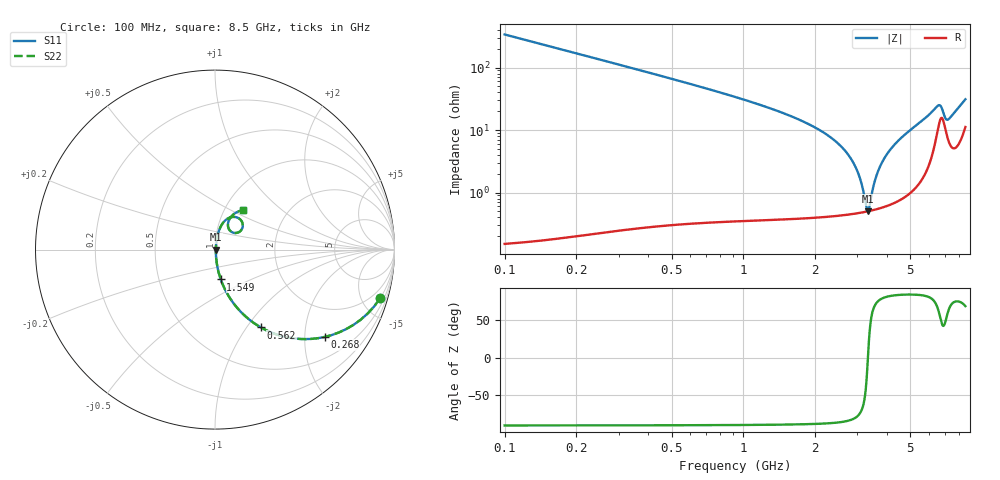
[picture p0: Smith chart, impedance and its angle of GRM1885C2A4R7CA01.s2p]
!Murata Part Number: GRM1885C2A4R7CA01
!These Parameters are Measured in Series Mode Connection
!Data Generated on Mar 30, 2021
!  o--ll--o
!Port1  Port2
!  o------o
!Operation Temp=25[degC], DC Bias Voltage=0[V]
!Freq. Start=100[MHz] Stop=9[GHz] 401[Steps]
# Hz S RI R 50
!Freq.(Hz) S11(Real) S11(Imag) S21(Real) S21(Imag) S12(Real) S12(Imag) S22(Real) S22(Imag)
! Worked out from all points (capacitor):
!   401 points, 100 MHz to 8.5 GHz, reference 50 ohm
!   read as one part in series: C = 4.7 pF near 142 MHz
!   lowest |Z| = 503 mohm at 3.313 GHz (marker M1)
!   series resonance near 3.32 GHz, so ESL is about 490 pH
!   S11 on the Smith chart (normalised r, x): 100 MHz: 1.00, -6.77; 268 MHz: 1.00, -2.51; 562 MHz: 1.01, -1.17; 1.549 GHz: 1.01, -0.34; 8.5 GHz: 1.22, +0.58
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1e8  0.9195 -0.2718  0.0805 0.2718  0.0805 0.2718  0.9195 -0.2718
2.68e8  0.6113 -0.4865  0.3887 0.4865  0.3887 0.4865  0.6113 -0.4865
4.15e8  0.3922 -0.4865  0.6078 0.4865  0.6078 0.4865  0.3922 -0.4865
5.62e8  0.2561 -0.4338  0.7439 0.4338  0.7439 0.4338  0.2561 -0.4338
9.19e8  0.1065 -0.3034  0.8935 0.3034  0.8935 0.3034  0.1065 -0.3034
1.507e9  0.0346 -0.1728  0.9654 0.1728  0.9654 0.1728  0.0346 -0.1728
1.549e9  0.0323 -0.1661  0.9677 0.1661  0.9677 0.1661  0.0323 -0.1661
2.431e9  0.00849 -0.0653  0.9915 0.0653  0.9915 0.0653  0.00849 -0.0653
2.914e9  0.00532 -0.0274  0.9947 0.0274  0.9947 0.0274  0.00532 -0.0274
3.103e9  0.00495 -0.0142  0.995 0.0142  0.995 0.0142  0.00495 -0.0142
3.271e9  0.00495 -0.00316  0.9951 0.00316  0.9951 0.00316  0.00495 -0.00316
3.313e9  0.00499 -0.000464  0.995 0.000464  0.995 0.000464  0.00499 -0.000464
3.355e9  0.00504 0.00221  0.995 -0.00221  0.995 -0.00221  0.00504 0.00221
3.544e9  0.00549 0.0139  0.9945 -0.0139  0.9945 -0.0139  0.00549 0.0139
3.712e9  0.00613 0.024  0.9939 -0.024  0.9939 -0.024  0.00613 0.024
3.964e9  0.00752 0.0386  0.9925 -0.0386  0.9925 -0.0386  0.00752 0.0386
4.3e9  0.0102 0.0576  0.9898 -0.0576  0.9898 -0.0576  0.0102 0.0576
5.707e9  0.0386 0.1404  0.9614 -0.1404  0.9614 -0.1404  0.0386 0.1404
6.568e9  0.1385 0.1697  0.8615 -0.1697  0.8615 -0.1697  0.1385 0.1697
7.114e9  0.0869 0.1025  0.9131 -0.1025  0.9131 -0.1025  0.0869 0.1025
7.723e9  0.0806 0.1695  0.9194 -0.1695  0.9194 -0.1695  0.0806 0.1695
8.5e9  0.1581 0.2197  0.8419 -0.2197  0.8419 -0.2197  0.1581 0.2197
